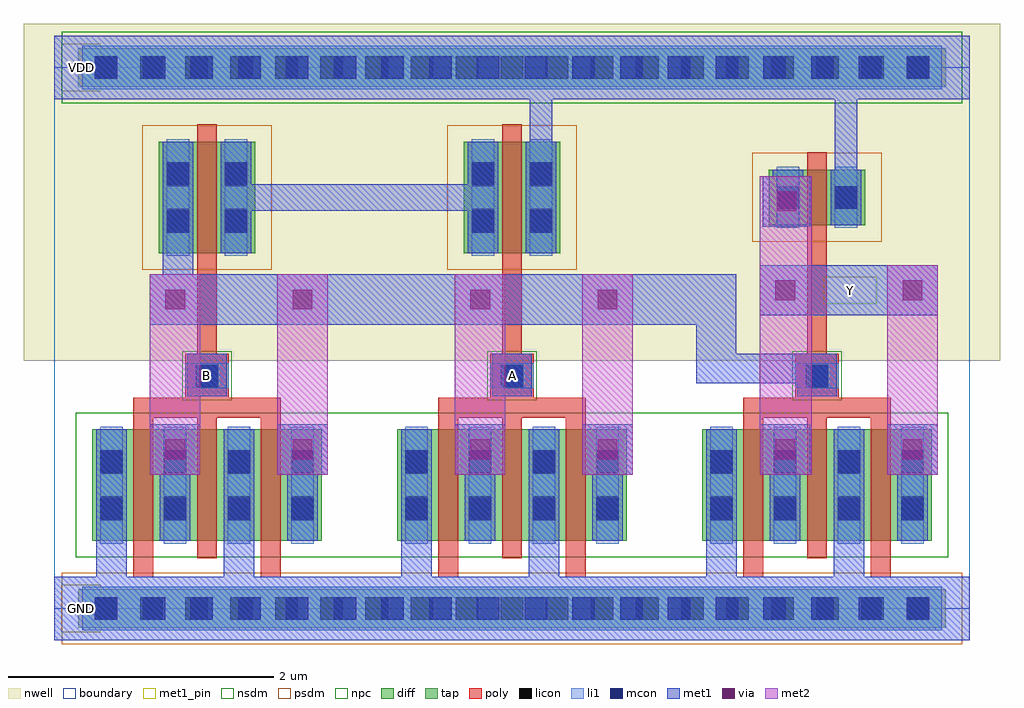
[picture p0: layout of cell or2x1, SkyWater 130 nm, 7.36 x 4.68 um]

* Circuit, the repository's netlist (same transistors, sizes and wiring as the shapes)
** sch_path: /foss/designs/or2x1.sch
.subckt or2x1 A B VDD GND Y
*.PININFO A:I B:I VDD:B GND:B Y:O
XM1 net1 A GND GND sky130_fd_pr__nfet_01v8 L=0.15 W=2.52 nf=3
XM3 net2 A VDD VDD sky130_fd_pr__pfet_01v8 L=0.15 W=0.84 nf=1
XM5 Y net1 VDD VDD sky130_fd_pr__pfet_01v8 L=0.15 W=0.42 nf=1
XM4 net1 B net2 VDD sky130_fd_pr__pfet_01v8 L=0.15 W=0.84 nf=1
XM2 net1 B GND GND sky130_fd_pr__nfet_01v8 L=0.15 W=2.52 nf=3
XM6 Y net1 GND GND sky130_fd_pr__nfet_01v8 L=0.15 W=2.52 nf=3
.ends

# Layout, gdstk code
import gdstk
lib = gdstk.Library(unit=1e-6, precision=1e-09)
def R(c, l, rs):  # rectangles x0, y0, x1, y1
    for r in rs: c.add(gdstk.rectangle(r[:2], r[2:], *l))
def A(c, l, x, y, w, h, nx, ny, dx, dy):  # array of equal rectangles
    R(c, l, [(x+i*dx, y+j*dy, x+i*dx+w, y+j*dy+h) for i in range(nx) for j in range(ny)])
nwell = (64, 20)
diff = (65, 20)
tap = (65, 44)
poly = (66, 20)
licon = (66, 44)
li1 = (67, 20)
mcon = (67, 44)
met1_pin = (68, 16)
met1 = (68, 20)
via = (68, 44)
met2 = (69, 20)
nsdm = (93, 44)
psdm = (94, 20)
npc = (95, 20)
boundary = (235, 4)

sky130_fd_pr__pfet_01v8_ = lib.new_cell('sky130_fd_pr__pfet_01v8_YNU6YZ')
R(sky130_fd_pr__pfet_01v8_, nwell, [(-0.545,-0.52,0.545,0.52)])
R(sky130_fd_pr__pfet_01v8_, diff, [(-0.365,-0.21,0.365,0.21)])
R(sky130_fd_pr__pfet_01v8_, poly, [(-0.075,-0.34,0.075,0.34)])
R(sky130_fd_pr__pfet_01v8_, licon, [(-0.305,-0.085,-0.135,0.085), (0.135,-0.085,0.305,0.085)])
R(sky130_fd_pr__pfet_01v8_, li1, [(-0.305,-0.23,-0.135,0.23), (0.135,-0.23,0.305,0.23)])
R(sky130_fd_pr__pfet_01v8_, mcon, [(-0.305,-0.085,-0.135,0.085), (0.135,-0.085,0.305,0.085)])
R(sky130_fd_pr__pfet_01v8_, met1, [(-0.335,-0.21,-0.105,0.21), (0.105,-0.21,0.335,0.21)])
R(sky130_fd_pr__pfet_01v8_, psdm, [(-0.49,-0.335,0.49,0.335)])
sky130_fd_pr__pfet_01v8_.add(gdstk.Label('D', (-0.22,0), layer=67, texttype=5))
sky130_fd_pr__pfet_01v8_.add(gdstk.Label('S', (0.22,0), layer=67, texttype=5))

sky130_fd_pr__nfet_01v8_ = lib.new_cell('sky130_fd_pr__nfet_01v8_RPKUUV')
R(sky130_fd_pr__nfet_01v8_, diff, [(-0.865,-0.42,0.865,0.42)])
R(sky130_fd_pr__nfet_01v8_, poly, [(-0.555,-0.695,-0.405,0.55), (0.405,-0.695,0.555,0.55), (-0.075,-0.55,0.075,0.695)])
A(sky130_fd_pr__nfet_01v8_, licon, -0.805, -0.255, 0.17, 0.17, 4, 2, 0.48, 0.34)
A(sky130_fd_pr__nfet_01v8_, li1, -0.805, -0.44, 0.17, 0.88, 4, 1, 0.48, 0)
A(sky130_fd_pr__nfet_01v8_, mcon, -0.805, -0.265, 0.17, 0.17, 4, 2, 0.48, 0.36)
A(sky130_fd_pr__nfet_01v8_, met1, -0.835, -0.42, 0.23, 0.84, 4, 1, 0.48, 0)
R(sky130_fd_pr__nfet_01v8_, nsdm, [(-0.99,-0.545,0.99,0.545)])
sky130_fd_pr__nfet_01v8_.add(gdstk.Label('D0', (-0.72,0), layer=67, texttype=5))
sky130_fd_pr__nfet_01v8_.add(gdstk.Label('S1', (-0.24,0), layer=67, texttype=5))
sky130_fd_pr__nfet_01v8_.add(gdstk.Label('D2', (0.24,0), layer=67, texttype=5))
sky130_fd_pr__nfet_01v8_.add(gdstk.Label('S2', (0.72,0), layer=67, texttype=5))

c_sky130_fd_pr__pfet_01v8_ = lib.new_cell('sky130_fd_pr__pfet_01v8_W5J8BK')
R(c_sky130_fd_pr__pfet_01v8_, nwell, [(-0.545,-0.73,0.545,0.73)])
R(c_sky130_fd_pr__pfet_01v8_, diff, [(-0.365,-0.42,0.365,0.42)])
R(c_sky130_fd_pr__pfet_01v8_, poly, [(-0.075,-0.55,0.075,0.55)])
R(c_sky130_fd_pr__pfet_01v8_, licon, [(-0.305,-0.255,-0.135,-0.085), (0.135,-0.255,0.305,-0.085), (-0.305,0.085,-0.135,0.255), (0.135,0.085,0.305,0.255)])
R(c_sky130_fd_pr__pfet_01v8_, li1, [(-0.305,-0.44,-0.135,0.44), (0.135,-0.44,0.305,0.44)])
R(c_sky130_fd_pr__pfet_01v8_, mcon, [(-0.305,-0.265,-0.135,-0.095), (0.135,-0.265,0.305,-0.095), (-0.305,0.095,-0.135,0.265), (0.135,0.095,0.305,0.265)])
R(c_sky130_fd_pr__pfet_01v8_, met1, [(-0.335,-0.42,-0.105,0.42), (0.105,-0.42,0.335,0.42)])
R(c_sky130_fd_pr__pfet_01v8_, psdm, [(-0.49,-0.545,0.49,0.545)])
c_sky130_fd_pr__pfet_01v8_.add(gdstk.Label('D', (-0.22,0), layer=67, texttype=5))
c_sky130_fd_pr__pfet_01v8_.add(gdstk.Label('S', (0.22,0), layer=67, texttype=5))

or2x1 = lib.new_cell('or2x1')
R(or2x1, nwell, [(-0.23,1.87,7.13,4.41)])
R(or2x1, tap, [(0.18,-0.145,6.72,0.145), (0.18,3.935,6.72,4.225)])
A(or2x1, poly, 0.595, 1.44, 1.11, 0.15, 3, 1, 2.3, 0)
A(or2x1, poly, 0.985, 1.59, 0.33, 0.33, 3, 1, 2.3, 0)
R(or2x1, poly, [(1.075,1.92,1.225,2.8), (3.375,1.92,3.525,2.8), (5.675,1.92,5.825,2.95)])
A(or2x1, licon, 0.305, -0.085, 0.17, 0.17, 19, 2, 0.34, 4.08)
A(or2x1, licon, 1.065, 1.67, 0.17, 0.17, 3, 1, 2.3, 0)
A(or2x1, li1, 0.985, 1.66, 0.33, 0.19, 3, 1, 2.3, 0)
R(or2x1, li1, [(0.21,-0.165,6.69,0.165), (0.21,3.915,6.69,4.245)])
A(or2x1, mcon, 0.305, -0.085, 0.17, 0.17, 18, 2, 0.36, 4.08)
A(or2x1, mcon, 1.065, 1.67, 0.17, 0.17, 3, 1, 2.3, 0)
R(or2x1, met1_pin, [(0.05,-0.18,0.35,0.18), (1,1.6,1.3,1.92), (3.3,1.6,3.6,1.92), (5.8,2.3,6.2,2.5), (0.05,3.9,0.35,4.26)])
R(or2x1, met1, [(0,-0.24,6.9,0.24), (0.315,0.24,0.545,0.6), (1.275,0.24,1.505,0.6), (2.615,0.24,2.845,0.6), (3.575,0.24,3.805,0.6), (4.915,0.24,5.145,0.6), (5.875,0.24,6.105,0.6), (0.72,1.01,1.1,1.39), (1.68,1.01,2.06,1.39), (3.02,1.01,3.4,1.39), (3.98,1.01,4.36,1.39), (5.32,1.01,5.7,1.39), (6.28,1.01,6.66,1.39), (1,1.6,1.3,1.92), (3.3,1.6,3.6,1.92), (5.6,1.6,5.9,1.7), (4.84,1.7,5.9,1.92), (4.84,1.92,5.14,2.14), (0.72,2.14,5.14,2.52), (5.32,2.21,6.66,2.59), (0.815,2.52,1.045,2.8), (5.34,2.88,5.7,3.26), (1.255,3,3.345,3.2), (5.885,3.25,6.055,3.84), (3.585,3.4,3.755,3.84), (0,3.84,6.9,4.32)])
R(or2x1, via, [(0.835,1.125,0.985,1.275), (1.795,1.125,1.945,1.275), (3.135,1.125,3.285,1.275), (4.095,1.125,4.245,1.275), (5.435,1.125,5.585,1.275), (6.395,1.125,6.545,1.275), (0.835,2.255,0.985,2.405), (1.795,2.255,1.945,2.405), (3.135,2.255,3.285,2.405), (4.095,2.255,4.245,2.405), (5.435,2.325,5.585,2.475), (6.395,2.325,6.545,2.475), (5.445,2.995,5.595,3.145)])
R(or2x1, met2, [(0.72,1.01,1.1,2.52), (1.68,1.01,2.06,2.52), (3.02,1.01,3.4,2.52), (3.98,1.01,4.36,2.52), (5.32,1.01,5.71,3.26), (6.28,1.01,6.66,2.59)])
R(or2x1, nsdm, [(2.14,0.385,2.46,1.475), (4.44,0.385,4.76,1.475), (0.055,3.81,6.845,4.35)])
R(or2x1, psdm, [(0.055,-0.27,6.845,0.27)])
A(or2x1, npc, 0.965, 1.57, 0.37, 0.37, 3, 1, 2.3, 0)
R(or2x1, boundary, [(0,0,6.9,4.08)])
or2x1.add(gdstk.Reference(sky130_fd_pr__pfet_01v8_, (5.75,3.1)))
or2x1.add(gdstk.Reference(sky130_fd_pr__nfet_01v8_, (5.75,0.93)))
or2x1.add(gdstk.Reference(c_sky130_fd_pr__pfet_01v8_, (3.45,3.1)))
or2x1.add(gdstk.Reference(c_sky130_fd_pr__pfet_01v8_, (1.15,3.1)))
or2x1.add(gdstk.Reference(sky130_fd_pr__nfet_01v8_, (3.45,0.93)))
or2x1.add(gdstk.Reference(sky130_fd_pr__nfet_01v8_, (1.15,0.93)))
or2x1.add(gdstk.Label('B', (1.15,1.76), layer=68, texttype=5))
or2x1.add(gdstk.Label('A', (3.45,1.76), layer=68, texttype=5))
or2x1.add(gdstk.Label('Y', (6,2.4), layer=68, texttype=5))
or2x1.add(gdstk.Label('VDD', (0.2,4.08), layer=68, texttype=5))
or2x1.add(gdstk.Label('GND', (0.2,0), layer=68, texttype=5))

lib.write_gds('or2x1.gds')
